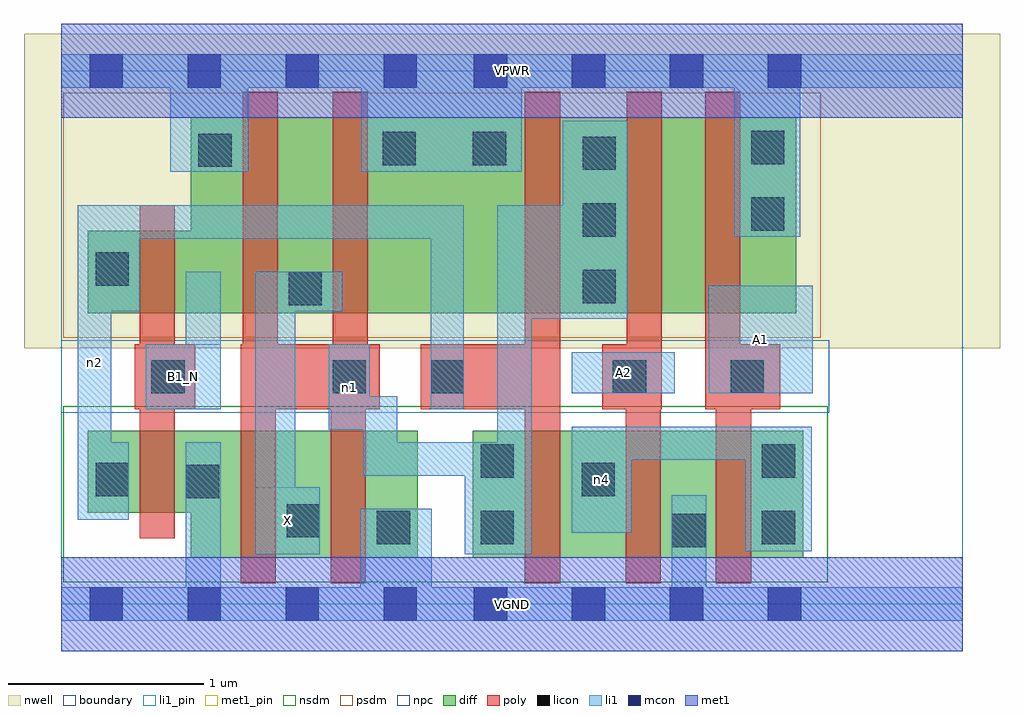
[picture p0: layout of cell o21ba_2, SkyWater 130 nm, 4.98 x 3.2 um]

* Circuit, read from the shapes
.subckt o21ba_2 A1 A2 B1_N VGND VPWR X n1 n2 n4
XM1 VGND B1_N n2 VSUBS sky130_fd_pr__nfet_01v8 w=0.42 l=0.18
XM2 X n1 VGND VSUBS sky130_fd_pr__nfet_01v8 w=0.65 l=0.18 m=2
XM3 n4 n2 n1 VSUBS sky130_fd_pr__nfet_01v8 w=0.65 l=0.18
XM4 VGND A2 n4 VSUBS sky130_fd_pr__nfet_01v8 w=0.65 l=0.18
XM5 n4 A1 VGND VSUBS sky130_fd_pr__nfet_01v8 w=0.65 l=0.18
XM6 VPWR B1_N n2 n3 sky130_fd_pr__pfet_01v8 w=0.42 l=0.18
XM7 X n1 VPWR n3 sky130_fd_pr__pfet_01v8 w=1 l=0.18 m=2
XM8 n1 n2 VPWR n3 sky130_fd_pr__pfet_01v8 w=1 l=0.18
XM9 n5 A2 n1 n3 sky130_fd_pr__pfet_01v8 w=1 l=0.18
XM10 VPWR A1 n5 n3 sky130_fd_pr__pfet_01v8 w=1 l=0.18
.ends

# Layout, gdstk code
import gdstk
lib = gdstk.Library(unit=1e-6, precision=1e-09)
def R(c, l, rs):  # rectangles x0, y0, x1, y1
    for r in rs: c.add(gdstk.rectangle(r[:2], r[2:], *l))
def A(c, l, x, y, w, h, nx, ny, dx, dy):  # array of equal rectangles
    R(c, l, [(x+i*dx, y+j*dy, x+i*dx+w, y+j*dy+h) for i in range(nx) for j in range(ny)])
nwell = (64, 20)
diff = (65, 20)
poly = (66, 20)
licon = (66, 44)
li1_pin = (67, 16)
li1 = (67, 20)
mcon = (67, 44)
met1_pin = (68, 16)
met1 = (68, 20)
nsdm = (93, 44)
psdm = (94, 20)
npc = (95, 20)
boundary = (235, 4)

o21ba_2 = lib.new_cell('o21ba_2')
R(o21ba_2, nwell, [(-0.19,1.305,4.79,2.91), (0,1.305,4.6,2.91)])
R(o21ba_2, diff, [(0.66,0.235,1.82,0.885), (2.1,0.235,3.785,0.885), (0.135,0.465,1.82,0.885), (0.135,1.485,3.75,1.905), (0.66,1.485,3.75,2.485)])
R(o21ba_2, poly, [(0.915,0.105,1.095,1.325), (1.375,0.105,1.555,1.325), (2.365,0.105,2.545,2.615), (2.88,0.105,3.06,1.325), (3.34,0.105,3.52,1.325), (0.4,0.335,0.58,2.035), (0.375,0.995,0.685,1.325), (0.915,0.995,1.625,1.325), (0.925,0.995,1.105,2.615), (1.385,0.995,1.565,2.615), (1.835,0.995,2.545,1.325), (2.76,0.995,3.065,1.325), (2.885,0.995,3.065,2.615), (3.285,0.995,3.465,2.615), (3.285,0.995,3.67,1.325)])
A(o21ba_2, licon, 2.66, 1.535, 0.17, 0.17, 1, 3, 0, 0.34)
R(o21ba_2, licon, [(3.115,0.29,3.285,0.46), (1.61,0.305,1.78,0.475), (2.14,0.305,2.31,0.475), (3.575,0.305,3.745,0.475), (1.15,0.34,1.32,0.51), (0.635,0.54,0.805,0.71), (0.175,0.55,0.345,0.72), (2.655,0.55,2.825,0.72), (2.14,0.645,2.31,0.815), (3.575,0.645,3.745,0.815), (0.46,1.075,0.63,1.245), (1.385,1.075,1.555,1.245), (1.885,1.075,2.055,1.245), (2.815,1.075,2.985,1.245), (3.415,1.075,3.585,1.245), (1.16,1.525,1.33,1.695), (0.175,1.625,0.345,1.795), (3.52,1.905,3.69,2.075), (0.7,2.23,0.87,2.4), (1.64,2.24,1.81,2.41), (2.1,2.24,2.27,2.41), (3.52,2.245,3.69,2.415)])
R(o21ba_2, li1_pin, [(0.99,0.255,1.32,0.595), (0.43,0.995,0.815,1.325), (2.605,1.075,3.13,1.285), (3.305,1.075,3.835,1.625)])
R(o21ba_2, li1, [(0,-0.085,4.6,0.085), (0.635,-0.085,0.815,0.825), (1.525,-0.085,1.89,0.485), (3.115,-0.085,3.29,0.555), (0.99,0.255,1.195,1.695), (0.99,0.255,1.32,0.595), (2.06,0.255,2.4,0.825), (2.225,0.255,2.4,2.035), (3.49,0.27,3.83,0.905), (2.605,0.365,2.91,0.905), (0.085,0.43,0.255,2.035), (0.085,0.43,0.345,0.825), (1.54,0.655,2.4,0.825), (1.54,0.655,1.715,1.06), (2.605,0.735,3.83,0.905), (1.365,0.89,1.575,1.325), (0.43,0.995,0.815,1.325), (0.635,0.995,0.815,1.695), (1.885,0.995,2.055,2.035), (2.605,1.075,3.13,1.285), (3.305,1.075,3.835,1.625), (2.225,1.455,2.89,2.035), (2.56,1.455,2.89,2.465), (0.085,1.495,0.4,2.035), (0.99,1.495,1.435,1.695), (0.085,1.865,2.055,2.035), (3.435,1.875,3.77,2.805), (0.555,2.205,0.955,2.805), (1.53,2.205,2.35,2.805), (0,2.635,4.6,2.805)])
A(o21ba_2, mcon, 0.145, -0.085, 0.17, 0.17, 4, 2, 0.5, 2.72)
A(o21ba_2, mcon, 2.105, -0.085, 0.17, 0.17, 4, 2, 0.5, 2.72)
R(o21ba_2, met1_pin, [(0,-0.24,4.6,0.24), (0,2.48,4.6,2.96)])
R(o21ba_2, met1, [(0,-0.24,4.6,0.24), (0,2.48,4.6,2.96)])
R(o21ba_2, nsdm, [(0.01,0.11,3.91,1.01)])
R(o21ba_2, psdm, [(0.01,1.36,3.875,2.61)])
R(o21ba_2, npc, [(0,0.975,3.92,1.345)])
R(o21ba_2, boundary, [(0,0,4.6,2.72)])
o21ba_2.add(gdstk.Label('A1', (3.57,1.35), layer=67, texttype=5))
o21ba_2.add(gdstk.Label('A2', (2.867,1.18), layer=67, texttype=5))
o21ba_2.add(gdstk.Label('B1_N', (0.622,1.16), layer=67, texttype=5))
o21ba_2.add(gdstk.Label('X', (1.155,0.425), layer=67, texttype=5))
o21ba_2.add(gdstk.Label('n4', (2.757,0.635), layer=67, texttype=5))
o21ba_2.add(gdstk.Label('n2', (0.17,1.232), layer=67, texttype=5))
o21ba_2.add(gdstk.Label('n1', (1.47,1.107), layer=67, texttype=5))
o21ba_2.add(gdstk.Label('VPWR', (2.3,2.72), layer=68, texttype=5))
o21ba_2.add(gdstk.Label('VGND', (2.3,0), layer=68, texttype=5))
o21ba_2.add(gdstk.Label('A1', (3.57,1.35), layer=67, texttype=16))
o21ba_2.add(gdstk.Label('A2', (2.867,1.18), layer=67, texttype=16))
o21ba_2.add(gdstk.Label('B1_N', (0.622,1.16), layer=67, texttype=16))
o21ba_2.add(gdstk.Label('X', (1.155,0.425), layer=67, texttype=16))
o21ba_2.add(gdstk.Label('VPWR', (2.3,2.72), layer=68, texttype=16))
o21ba_2.add(gdstk.Label('VGND', (2.3,0), layer=68, texttype=16))

lib.write_gds('o21ba_2.gds')
